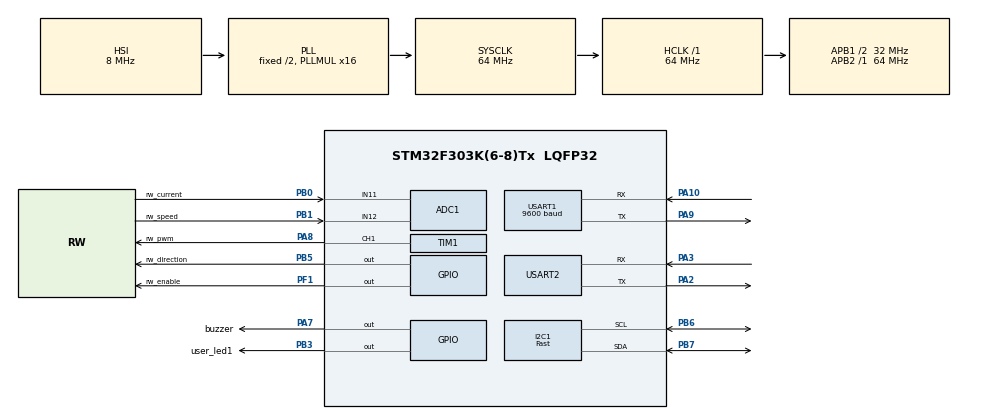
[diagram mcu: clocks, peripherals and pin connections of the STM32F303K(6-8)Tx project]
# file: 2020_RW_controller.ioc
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ADC1.Channel-0\#ChannelRegularConversion=ADC_CHANNEL_11
ADC1.Channel-1\#ChannelRegularConversion=ADC_CHANNEL_12
ADC1.ClockPrescaler=ADC_CLOCK_SYNC_PCLK_DIV4
ADC1.ContinuousConvMode=ENABLE
ADC1.DMAContinuousRequests=ENABLE
ADC1.DataAlign=ADC_DATAALIGN_RIGHT
ADC1.DiscontinuousConvMode=DISABLE
ADC1.EOCSelection=ADC_EOC_SEQ_CONV
ADC1.NbrOfConversion=2
ADC1.NbrOfConversionFlag=1
ADC1.Offset-0\#ChannelRegularConversion=0
ADC1.Offset-1\#ChannelRegularConversion=0
ADC1.OffsetNumber-0\#ChannelRegularConversion=ADC_OFFSET_NONE
ADC1.OffsetNumber-1\#ChannelRegularConversion=ADC_OFFSET_NONE
ADC1.Rank-0\#ChannelRegularConversion=1
ADC1.Rank-1\#ChannelRegularConversion=2
ADC1.SamplingTime-0\#ChannelRegularConversion=ADC_SAMPLETIME_181CYCLES_5
ADC1.SamplingTime-1\#ChannelRegularConversion=ADC_SAMPLETIME_181CYCLES_5
ADC1.SubFamily=STM32F303x8
ADC1.master=1
Dma.ADC1.0.Direction=DMA_PERIPH_TO_MEMORY
Dma.ADC1.0.Instance=DMA1_Channel1
Dma.ADC1.0.MemDataAlignment=DMA_MDATAALIGN_WORD
Dma.ADC1.0.MemInc=DMA_MINC_ENABLE
Dma.ADC1.0.Mode=DMA_CIRCULAR
Dma.ADC1.0.PeriphDataAlignment=DMA_PDATAALIGN_HALFWORD
Dma.ADC1.0.PeriphInc=DMA_PINC_DISABLE
Dma.ADC1.0.Priority=DMA_PRIORITY_LOW
Dma.Request0=ADC1
I2C1.I2C_Speed_Mode=I2C_Fast
I2C1.Timing=0x00602173
Mcu.Family=STM32F3
Mcu.Name=STM32F303K(6-8)Tx
Mcu.Package=LQFP32
NVIC.DMA1_Channel1_IRQn=true\:0\:0\:false\:false\:true\:false\:true
NVIC.PriorityGroup=NVIC_PRIORITYGROUP_4
NVIC.TIM2_IRQn=true\:0\:0\:false\:false\:true\:true\:true
NVIC.TIM3_IRQn=true\:0\:0\:false\:false\:true\:true\:true
NVIC.USART1_IRQn=true\:0\:0\:false\:false\:true\:true\:true
PA10.Mode=Asynchronous
PA10.Signal=USART1_RX
PA13.GPIO_Label=SWDIO
PA13.Mode=Serial_Wire
PA13.Signal=SYS_JTMS-SWDIO
PA14.GPIO_Label=SWCLK
PA14.Mode=Serial_Wire
PA14.Signal=SYS_JTCK-SWCLK
PA2.Mode=Asynchronous
PA2.Signal=USART2_TX
PA3.Mode=Asynchronous
PA3.Signal=USART2_RX
PA7.GPIO_Label=buzzer
PA7.Signal=GPIO_Output
PA8.GPIO_Label=rw_pwm
PA8.Signal=S_TIM1_CH1
PA9.Mode=Asynchronous
PA9.Signal=USART1_TX
PB0.GPIO_Label=rw_current
PB0.Mode=IN11-Single-Ended
PB0.Signal=ADC1_IN11
PB1.GPIO_Label=rw_speed
PB1.Mode=IN12-Single-Ended
PB1.Signal=ADC1_IN12
PB3.GPIO_Label=user_led1
PB3.Signal=GPIO_Output
PB5.GPIO_Label=rw_direction
PB5.Signal=GPIO_Output
PB6.Mode=I2C
PB6.Signal=I2C1_SCL
PB7.Mode=I2C
PB7.Signal=I2C1_SDA
PF0\ /\ OSC_IN.GPIO_Label=MCO
PF0\ /\ OSC_IN.Mode=HSE-External-Clock-Source
PF0\ /\ OSC_IN.Signal=RCC_OSC_IN
PF1\ /\ OSC_OUT.GPIO_Label=rw_enable
PF1\ /\ OSC_OUT.Signal=GPIO_Output
ProjectManager.HeapSize=0x200
ProjectManager.StackSize=0x400
ProjectManager.TargetToolchain=STM32CubeIDE
RCC.AHBFreq_Value=64000000
RCC.APB1CLKDivider=RCC_HCLK_DIV2
RCC.APB1Freq_Value=32000000
RCC.APB1TimFreq_Value=64000000
RCC.APB2Freq_Value=64000000
RCC.APB2TimFreq_Value=64000000
RCC.CortexFreq_Value=64000000
RCC.HCLKFreq_Value=64000000
RCC.HSE_VALUE=8000000
RCC.HSI_VALUE=8000000
RCC.I2c1ClockSelection=RCC_I2C1CLKSOURCE_SYSCLK
RCC.PLLMUL=RCC_PLL_MUL16
RCC.SYSCLKFreq_VALUE=64000000
RCC.SYSCLKSourceVirtual=RCC_SYSCLKSOURCE_PLLCLK
RCC.Usart1ClockSelection=RCC_USART1CLKSOURCE_SYSCLK
SH.S_TIM1_CH1.0=TIM1_CH1,PWM Generation1 CH1
TIM1.Channel-PWM\ Generation1\ CH1=TIM_CHANNEL_1
TIM1.OC1Preload_PWM=ENABLE
TIM1.Period=1000-1
TIM1.Prescaler=64-1
TIM1.RepetitionCounter=0
TIM17.Period=1000-1
TIM17.Prescaler=64-1
TIM2.Period=1280000-1
TIM3.Period=1000-1
TIM3.Prescaler=64-1
USART1.BaudRate=9600
USART1.VirtualMode-Asynchronous=VM_ASYNC
USART2.VirtualMode-Asynchronous=VM_ASYNC
VP_TIM17_VS_ClockSourceINT.Mode=Enable_Timer
VP_TIM1_VS_ClockSourceINT.Mode=Internal
VP_TIM2_VS_ClockSourceINT.Mode=Internal
VP_TIM3_VS_ClockSourceINT.Mode=Internal
board=NUCLEO-F303K8

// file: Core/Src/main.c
/* USER CODE BEGIN Header */
/**
  ******************************************************************************
  * @file           : main.c
  * @brief          : Main program body
  ******************************************************************************
  * @attention
  *
  * <h2><center>&copy; Copyright (c) 2021 STMicroelectronics.
  * All rights reserved.</center></h2>
  *
  * This software component is licensed by ST under BSD 3-Clause license,
  * the "License"; You may not use this file except in compliance with the
  * License. You may obtain a copy of the License at:
  *                        opensource.org/licenses/BSD-3-Clause
  *
  ******************************************************************************
  */
/* USER CODE END Header */
#include "main.h"
#include "adc.h"
#include "dma.h"
#include "i2c.h"
#include "tim.h"
#include "usart.h"
#include "gpio.h"

/* USER CODE BEGIN Includes */
#include <stdio.h>
#include "lpme1_driver.h"
#include "lpme1.h"
#include "bldc.h"
/* USER CODE END Includes */

/* USER CODE BEGIN PD */

//Enable printf
#ifdef __GNUC__
  /* With GCC/RAISONANCE, small printf (option LD Linker->Libraries->Small printf
     set to 'Yes') calls __io_putchar() */
  #define PUTCHAR_PROTOTYPE int __io_putchar(int ch)
#else
  #define PUTCHAR_PROTOTYPE int fputc(int ch, FILE *f)
#endif /* __GNUC__ */

/*
 * Mode current control or speed control
 * RWの制御は基本的に電流制御
 */
#define CURRENT_MODE
//#define SPEED_MODE

/*
 * Enable feed back control
 */
#define ENABLE_FB

/*
 * Enable Beep
 */
#define ENABLE_BEEP

#ifndef PI
#define PI 3.1415
#endif
/* USER CODE END PD */

/* USER CODE BEGIN PV */
typedef struct
{
    float target_angle;
    float target_speed;
    float actual_angle;
    float actual_speed;
    float angle_base;
    float angle_error;
    float angle_error_integrated;
    float speed_error;
} Machine_Angle;

Lpme1_Data lpme1Data;	//imu data
Machine_Angle ma;		//machine angle state
float tmp_output=0;
float K_angle=0.011, K_omega=0.01, K_integrate=0.00001;	//control gain
float torque_coef = 75.76;	//torque coefficient
float max_current = 0.8;

uint8_t speed_observation_flag=0;
uint8_t observation_counter=0;
float now_speed=0, old_speed=0;

TIM_OC_InitTypeDef ConfigOC_rw;
Bldc_State rw_motor;

uint8_t logger_flag=0;
uint8_t print_flag=0;
int counter=0;
int counter_th=1000;	// 1000 / 50[Hz] = 20[s] logging
uint8_t uart_key=1;
uint8_t xbee_key_flag=0;
uint8_t key='0';

static uint32_t ADC_Data1[2];
/* USER CODE END PV */

void SystemClock_Config(void);

/* USER CODE BEGIN 0 */
//printfを複数のuartチャンネルで使用するため
void __io_putchar(uint8_t ch) {
	if(uart_key==1){
		HAL_UART_Transmit(&huart1, &ch, 1, 1);
	} else if(uart_key==2){
		HAL_UART_Transmit(&huart2, &ch, 1, 1);
	}
}
/*
PUTCHAR_PROTOTYPE
{
 HAL_UART_Transmit(&huart2, (uint8_t *)&ch, 1, 0xFFFF);
 return ch;
}
*/
void setup(void);
void loop(void);

void buzzer_output(_Bool state);
void motor_control(void);
/* USER CODE END 0 */

int main(void)
{

  /* MCU Configuration--------------------------------------------------------*/

  /* Reset of all peripherals, Initializes the Flash interface and the Systick. */
  HAL_Init();

  /* Configure the system clock */
  SystemClock_Config();

  /* Initialize all configured peripherals */
  MX_GPIO_Init();
  MX_DMA_Init();
  MX_USART2_UART_Init();
  MX_ADC1_Init();
  MX_I2C1_Init();
  MX_TIM1_Init();
  MX_USART1_UART_Init();
  MX_TIM2_Init();
  MX_TIM17_Init();
  MX_TIM3_Init();
  /* USER CODE BEGIN 2 */
  setup();
  /* USER CODE END 2 */

  /* Infinite loop */
  /* USER CODE BEGIN WHILE */
  while (1)
  {
	  loop();
    /* USER CODE END WHILE */

  }
}

void SystemClock_Config(void)
{
  RCC_OscInitTypeDef RCC_OscInitStruct = {0};
  RCC_ClkInitTypeDef RCC_ClkInitStruct = {0};
  RCC_PeriphCLKInitTypeDef PeriphClkInit = {0};

  /** Initializes the RCC Oscillators according to the specified parameters
  * in the RCC_OscInitTypeDef structure.
  */
  RCC_OscInitStruct.OscillatorType = RCC_OSCILLATORTYPE_HSI;
  RCC_OscInitStruct.HSIState = RCC_HSI_ON;
  RCC_OscInitStruct.HSICalibrationValue = RCC_HSICALIBRATION_DEFAULT;
  RCC_OscInitStruct.PLL.PLLState = RCC_PLL_ON;
  RCC_OscInitStruct.PLL.PLLSource = RCC_PLLSOURCE_HSI;
  RCC_OscInitStruct.PLL.PLLMUL = RCC_PLL_MUL16;
  if (HAL_RCC_OscConfig(&RCC_OscInitStruct) != HAL_OK)
  {
    Error_Handler();
  }
  /** Initializes the CPU, AHB and APB buses clocks
  */
  RCC_ClkInitStruct.ClockType = RCC_CLOCKTYPE_HCLK|RCC_CLOCKTYPE_SYSCLK
                              |RCC_CLOCKTYPE_PCLK1|RCC_CLOCKTYPE_PCLK2;
  RCC_ClkInitStruct.SYSCLKSource = RCC_SYSCLKSOURCE_PLLCLK;
  RCC_ClkInitStruct.AHBCLKDivider = RCC_SYSCLK_DIV1;
  RCC_ClkInitStruct.APB1CLKDivider = RCC_HCLK_DIV2;
  RCC_ClkInitStruct.APB2CLKDivider = RCC_HCLK_DIV1;

  if (HAL_RCC_ClockConfig(&RCC_ClkInitStruct, FLASH_LATENCY_2) != HAL_OK)
  {
    Error_Handler();
  }
  PeriphClkInit.PeriphClockSelection = RCC_PERIPHCLK_USART1|RCC_PERIPHCLK_I2C1
                              |RCC_PERIPHCLK_TIM1;
  PeriphClkInit.Usart1ClockSelection = RCC_USART1CLKSOURCE_SYSCLK;
  PeriphClkInit.I2c1ClockSelection = RCC_I2C1CLKSOURCE_SYSCLK;
  PeriphClkInit.Tim1ClockSelection = RCC_TIM1CLK_HCLK;
  if (HAL_RCCEx_PeriphCLKConfig(&PeriphClkInit) != HAL_OK)
  {
    Error_Handler();
  }
}

/* USER CODE BEGIN 4 */
void setup(void){
	_Bool ready_flag=1;
	//rw pwm pin setup
	ConfigOC_rw.OCMode = TIM_OCMODE_PWM1;
	ConfigOC_rw.OCPolarity = TIM_OCPOLARITY_HIGH;
	ConfigOC_rw.OCNPolarity = TIM_OCNPOLARITY_HIGH;
	ConfigOC_rw.OCFastMode = TIM_OCFAST_DISABLE;
	ConfigOC_rw.OCIdleState = TIM_OCIDLESTATE_RESET;
	ConfigOC_rw.OCNIdleState = TIM_OCNIDLESTATE_RESET;
	ConfigOC_rw.Pulse=0;
	HAL_TIM_PWM_ConfigChannel(&htim1,&ConfigOC_rw,TIM_CHANNEL_1);
	if (HAL_TIM_PWM_Start(&htim1, TIM_CHANNEL_1) != HAL_OK) {
		Error_Handler();
	}
	//ADC setup
	/*
	 * なぜかDMAのAD変換とfloat型のprintfが両立できない→ログ取りは基本int型でやる
	 */
	if (HAL_ADC_Start_DMA(&hadc1, (uint32_t *) ADC_Data1, sizeof(ADC_Data1)) != HAL_OK){
		 Error_Handler();
	}

	setbuf(stdout, NULL);

	//Motor variable initialization
	rw_motor.actual_current = 0;
	rw_motor.actual_speed = 0;
	rw_motor.target_current = 0;
	rw_motor.target_speed = 0;
	rw_motor.direction = 1;
	rw_motor.enable = 0;
	rw_motor.pwm_pulse = (htim1.Init.Period + 1) * 0.5;

	ma.target_angle = 0;
	ma.target_speed = 0;
	ma.actual_angle = 0;
	ma.actual_speed = 0;
	ma.angle_base = 0;
	ma.angle_error_integrated = 0;

	HAL_Delay(300);
	while(1) {
		if(lpme1_set_Freq(LPMS_DATA_FREQ_200HZ) != LPME1_OK) ready_flag=0;
		if(lpme1_set_filter(LPMS_FILTER_MODE_MAD_GYR_ACC_MAG)!=LPME1_OK) ready_flag=0;
		if(HAL_TIM_Base_Start_IT(&htim2) != HAL_OK) ready_flag=0;
		//if(HAL_UART_Receive_IT(&huart1, &key, 1) != HAL_OK) ready_flag=0;
		HAL_Delay(100);
		if(ready_flag == 1) break;
		ready_flag = 1;
	}
	uart_key=2;
	printf("Time,Angle Error,Speed Error,Actual Current,Wheel Speed\r\n");

	//Ready beep
	for(int i=0;i<3;i++){
		buzzer_output(1);
		HAL_Delay(50);
		buzzer_output(0);
		HAL_Delay(50);
	}
}
void loop(void){
	//update xbee command
	HAL_UART_Receive(&huart1,&key, 1, 10);

	switch(key){
	case 's':	//stop
		uart_key=1;
		printf("\r\nSTOP\r\n");
		rw_motor.enable=0;
		rw_motor.target_speed=0;
		rw_motor.target_current=0;
		break;

	case 'i':	//start
		uart_key=1;
		printf("\r\nCURRENT ENABLE\r\n");
		//rw_motor.enable=1;
		//rw_motor.target_speed=4000;
		rw_motor.target_current=0.3;
		rw_motor.enable=1;
		break;

	case 'o':	//定電流制御
		uart_key=1;
		printf("\r\nCURRENT ENABLE\r\n");
		rw_motor.target_current=-0.1;
		rw_motor.enable=1;
		break;

	case 'x':	//180度姿勢変更
		uart_key=1;
		printf("\r\nControl Start !!!\r\n");
		ma.angle_base = lpme1Data.euler[2];
		ma.target_angle = ma.angle_base + PI;
		ma.target_speed = 0;
		ma.angle_error_integrated = 0;
		rw_motor.enable=1;
		logger_flag = 1;
		break;

	case 'X':	//安定状態遷移
		uart_key=1;
		printf("\r\nControl Start !!!\r\n");
		speed_observation_flag=1;
		break;

	case 'e':	//enable
		uart_key=1;
		printf("\r\nMOTOR ENABLE\r\n");
		rw_motor.enable=1;
		break;

	case 'p':	//change target speed
		uart_key=1;
		printf("\r\neneble:%d, direction:%d, speed:%d, current:%d\r\n", rw_motor.enable, rw_motor.direction,(int)(1000 * rw_motor.target_current), (int)(rw_motor.target_speed));
		break;

	case 'R':	//system reset
		HAL_NVIC_SystemReset();
		break;

	}
	key='0';

	uart_key=1;
	//printf("\r\n current:%d, speed:%d\r\n",(int)(1000 * rw_motor.actual_current), (int)(rw_motor.actual_speed));
	//printf("\r\nangle:%d, speed:%d target_current:%d\r\n", (int)(180*lpme1Data.euler[2]/PI), (int)(180*lpme1Data.gyr[1]/PI), (int)(tmp_output*1000));
	//printf("actual_angle:%d\r\n", (int)(180*ma.angle_error/PI));

	if(logger_flag==0 && counter>counter_th){
		buzzer_output(1);
		counter=0;
		HAL_Delay(1000);
		buzzer_output(0);
	}

	/*if(print_flag==1){
		uart_key=1;
		//printf("roll:%d, pitch:%d, yaw:%d\r\n", (int)(180*lpme1Data.euler[0]/PI), (int)(180*lpme1Data.euler[1]/PI), (int)(180*lpme1Data.euler[2]/PI));
	}*/

	HAL_Delay(500);
}

/*
 * Buzzer control
 */
void buzzer_output(_Bool state){
#ifdef ENABLE_BEEP
	if(state==1){
		HAL_GPIO_WritePin(buzzer_GPIO_Port, buzzer_Pin, GPIO_PIN_SET);
	}
	else {
		HAL_GPIO_WritePin(buzzer_GPIO_Port, buzzer_Pin, GPIO_PIN_RESET);
	}
#endif
}

void motor_control(void){
	//Feed back状態変数の更新
	rw_motor.actual_current = bldc_get_current(ADC_Data1[0]);
	rw_motor.actual_speed = bldc_get_speed(ADC_Data1[1]);

	//ベース角度からの偏差(-PI~PI)を計算
	ma.actual_angle = lpme1Data.euler[2] - ma.angle_base;
	if(ma.actual_angle < (-1)*PI){
		ma.actual_angle = (-1) * ma.actual_angle - PI;
	} else if(ma.actual_angle>PI){
		ma.actual_angle = (-1) * ma.actual_angle + PI;
	}

	//ベクトルの内積と外積を利用して目標角と現在角の偏差を計算
	ma.angle_error = acos(cos(lpme1Data.euler[2]) * cos(ma.target_angle) + sin(lpme1Data.euler[2]) * sin(ma.target_angle));
	if((cos(lpme1Data.euler[2]) * sin(ma.target_angle) - sin(lpme1Data.euler[2]) * cos(ma.target_angle)) < 0){
		ma.angle_error = (-1) * ma.angle_error;
	}

	//角速度の目標値との偏差を計算
	ma.speed_error = ma.target_speed - lpme1Data.gyr[1];

	//積分項の計算
	ma.angle_error_integrated += ma.angle_error;

#ifdef ENABLE_FB
	//フィードバック制御のメイン計算
	tmp_output = torque_coef * (ma.angle_error * K_angle + ma.speed_error * K_omega + ma.angle_error_integrated * K_integrate);
	//電流制限
	if(tmp_output > max_current){
		tmp_output = max_current;
	} else if(tmp_output < (-1)*max_current){
		tmp_output = (-1)*max_current;
	}
	rw_motor.target_current = tmp_output;
#endif

#ifdef CURRENT_MODE
	if(rw_motor.target_current < 0){
		rw_motor.direction = 1;
	} else {
		rw_motor.direction = 0;
	}
	//コントローラへのpwmのdutyを決定
	rw_motor.pwm_pulse = bldc_current_to_pulse(rw_motor.target_current);
#endif

#ifdef SPEED_MODE
	if(rw_motor.target_speed > 0){
		rw_motor.direction = 1;
	} else {
		rw_motor.direction = 0;
	}
	rw_motor.pwm_pulse = bldc_speed_to_pulse(rw_motor.target_speed);
#endif

	//コントローラのenableピンの制御
	if(rw_motor.enable==1){
		HAL_GPIO_WritePin(rw_enable_GPIO_Port, rw_enable_Pin, GPIO_PIN_SET);
	} else {
		HAL_GPIO_WritePin(rw_enable_GPIO_Port, rw_enable_Pin, GPIO_PIN_RESET);
	}

	//コントローラの方向性魚ピンの制御
	if(rw_motor.direction==1){
		HAL_GPIO_WritePin(GPIOB, rw_direction_Pin, GPIO_PIN_SET);
	} else {
		HAL_GPIO_WritePin(GPIOB, rw_direction_Pin, GPIO_PIN_RESET);
	}

	//コントローラのpwm入力の制御
	__HAL_TIM_SET_COMPARE(&htim1, TIM_CHANNEL_1, rw_motor.pwm_pulse);
}

void HAL_TIM_PeriodElapsedCallback(TIM_HandleTypeDef *htim)
{
	if (htim == &htim2){
		/* IMUセンサデータの更新 */
		if(lpme1_get_timestamp(&lpme1Data.time)==LPME1_OK) HAL_GPIO_TogglePin(GPIOB, user_led1_Pin);	//For instant visual debug
		//lpme1_get_acc(lpme1Data.acc);
		lpme1_get_gyr(lpme1Data.gyr);
		//lpme1_get_mag(lpme1Data.mag);
		lpme1_get_euler(lpme1Data.euler);
		//lpme1_get_quat(lpme1Data.quat);

		/* モータ制御値の計算，モータ関連ピンの制御 */
		motor_control();

		//ロガーへのデータ送信
		if(logger_flag==1){
			uart_key = 2;
			//Time [ms], ma.angle_error [*10^-2 deg], ma.speed_error [*10^-2 deg/s], actual_current [*10^-2 mA], actual_speed [rpm]
			printf("%d,%d,%d,%d,%d\r\n", (int)(1000 * lpme1Data.time), (int)(18000 * ma.angle_error / PI), (int)(18000 * ma.speed_error / PI), (int)(100000 * rw_motor.actual_current), (int)(rw_motor.actual_speed));
			//printf("%d,%d,%d\r\n", (int)(1000 * lpme1Data.time), (int)(18000 * lpme1Data.euler[2] / PI), (int)(18000 * lpme1Data.gyr[1] / PI));
			counter++;
		}
		if(counter>counter_th){
			logger_flag=0;
		}

		/* テザーのねじれ状態から安定状態へ遷移させる制御に使用
		 * 機体角速度が最大になる瞬間　=　釣り合いの姿勢角度
		 * とみなし，その瞬間の角度を目標として制御する．
		 * 実際の安定角度と機体角速度が最大になる瞬間には差が存在するため，
		 * ベストな推定法ではない
		 */
		if(speed_observation_flag==1){
			old_speed = now_speed;
			now_speed = lpme1Data.gyr[1];
			if(fabs(now_speed) < fabs(old_speed)){
				observation_counter++;
			} else {
				observation_counter=0;
			}
			if(observation_counter>5){
				ma.angle_base = lpme1Data.euler[2];
				ma.target_angle = ma.angle_base;
				ma.target_speed = 0;
				rw_motor.enable = 1;
				ma.angle_error_integrated = 0;
				speed_observation_flag=0;
				logger_flag = 1;
			}
		}
	}
	HAL_TIM_Base_Start_IT(&htim2);
}

void HAL_UART_RxCpltCallback(UART_HandleTypeDef *UartHandle)
{
	if(UartHandle == &huart1){

		//xbee_key_flag=1;
	}
	HAL_UART_Receive_IT(&huart1, &key, 1);
}

/* USER CODE END 4 */

void Error_Handler(void)
{
  /* USER CODE BEGIN Error_Handler_Debug */
	HAL_GPIO_TogglePin(GPIOB, user_led1_Pin);
  /* User can add his own implementation to report the HAL error return state */

  /* USER CODE END Error_Handler_Debug */
}

/************************ (C) COPYRIGHT STMicroelectronics *****END OF FILE****/
